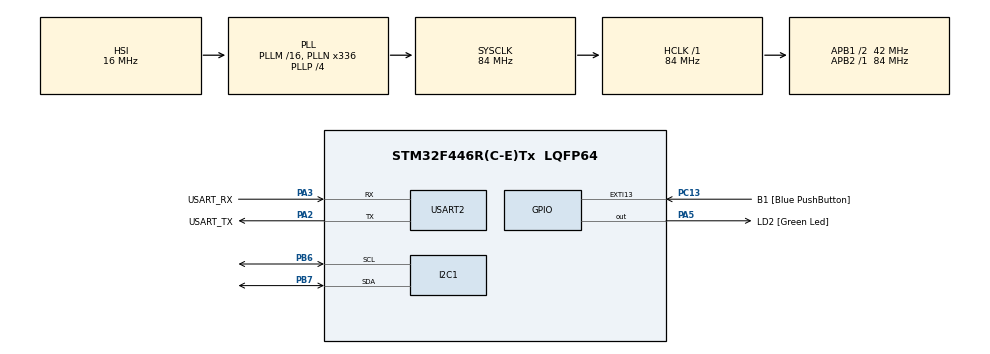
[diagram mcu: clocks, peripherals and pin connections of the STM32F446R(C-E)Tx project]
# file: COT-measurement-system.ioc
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I2C1.I2C_Mode=I2C_Standard
Mcu.Family=STM32F4
Mcu.Name=STM32F446R(C-E)Tx
Mcu.Package=LQFP64
NVIC.I2C1_ER_IRQn=true\:0\:0\:false\:false\:true\:true\:true\:true
NVIC.I2C1_EV_IRQn=true\:0\:0\:false\:false\:true\:true\:true\:true
NVIC.PriorityGroup=NVIC_PRIORITYGROUP_0
NVIC.TIM6_DAC_IRQn=true\:0\:0\:false\:false\:true\:true\:true\:true
PA13.GPIO_Label=TMS
PA13.Mode=Serial_Wire
PA13.Signal=SYS_JTMS-SWDIO
PA14.GPIO_Label=TCK
PA14.Mode=Serial_Wire
PA14.Signal=SYS_JTCK-SWCLK
PA2.GPIO_Label=USART_TX
PA2.Mode=Asynchronous
PA2.Signal=USART2_TX
PA3.GPIO_Label=USART_RX
PA3.Mode=Asynchronous
PA3.Signal=USART2_RX
PA5.GPIO_Label=LD2 [Green Led]
PA5.Signal=GPIO_Output
PB3.GPIO_Label=SWO
PB3.Signal=SYS_JTDO-SWO
PB6.GPIO_Pu=GPIO_PULLUP
PB6.Mode=I2C
PB6.Signal=I2C1_SCL
PB7.GPIO_Pu=GPIO_PULLUP
PB7.Mode=I2C
PB7.Signal=I2C1_SDA
PC13.GPIO_Label=B1 [Blue PushButton]
PC13.GPIO_ModeDefaultEXTI=GPIO_MODE_IT_FALLING
PC13.Signal=GPXTI13
PC14-OSC32_IN.Mode=LSE-External-Oscillator
PC14-OSC32_IN.Signal=RCC_OSC32_IN
PC15-OSC32_OUT.Mode=LSE-External-Oscillator
PC15-OSC32_OUT.Signal=RCC_OSC32_OUT
PH0-OSC_IN.Mode=HSE-External-Oscillator
PH0-OSC_IN.Signal=RCC_OSC_IN
PH1-OSC_OUT.Mode=HSE-External-Oscillator
PH1-OSC_OUT.Signal=RCC_OSC_OUT
ProjectManager.HeapSize=0x200
ProjectManager.StackSize=0x400
ProjectManager.TargetToolchain=STM32CubeIDE
RCC.48MHZClocksFreq_Value=84000000
RCC.AHBFreq_Value=84000000
RCC.APB1CLKDivider=RCC_HCLK_DIV2
RCC.APB1Freq_Value=42000000
RCC.APB1TimFreq_Value=84000000
RCC.APB2Freq_Value=84000000
RCC.APB2TimFreq_Value=84000000
RCC.CortexFreq_Value=84000000
RCC.FLatency-AdvancedSettings=FLASH_LATENCY_2
RCC.HCLKFreq_Value=84000000
RCC.HSE_VALUE=8000000
RCC.HSI_VALUE=16000000
RCC.PLLN=336
RCC.PLLP=RCC_PLLP_DIV4
RCC.SYSCLKFreq_VALUE=84000000
RCC.SYSCLKSource=RCC_SYSCLKSOURCE_PLLCLK
RCC.USBFreq_Value=168000000
RCC.VCOOutputFreq_Value=336000000
TIM6.AutoReloadPreload=TIM_AUTORELOAD_PRELOAD_DISABLE
TIM6.Period=9999
TIM6.Prescaler=83
TIM6.TIM_MasterOutputTrigger=TIM_TRGO_RESET
USART2.VirtualMode=VM_ASYNC
VP_TIM6_VS_ClockSourceINT.Mode=Enable_Timer
board=NUCLEO-F446RE

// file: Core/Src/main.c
/* USER CODE BEGIN Header */
/**
  ******************************************************************************
  * @file           : main.c
  * @brief          : Main program body
  ******************************************************************************
  * @attention
  *
  * Copyright (c) 2026 STMicroelectronics.
  * All rights reserved.
  *
  * This software is licensed under terms that can be found in the LICENSE file
  * in the root directory of this software component.
  * If no LICENSE file comes with this software, it is provided AS-IS.
  *
  ******************************************************************************
  */
/* USER CODE END Header */
#include "main.h"
#include "i2c.h"
#include "tim.h"
#include "usart.h"
#include "gpio.h"

/* USER CODE BEGIN Includes */
#include "max30100.h"
/* USER CODE END Includes */

/* USER CODE BEGIN PD */
#define SAMPLE_RATE_HZ 100
#define FINGER_PRESENT_LIMIT 15000
#define DELTA_PULSE 150
#define MIN_BEAT_INTEVAL 10

enum {
	SM_INIT_STATE = 0,
	SM_IDLE_STATE,
	SM_MONITOR_HART_STATE
};
/* USER CODE END PD */

/* USER CODE BEGIN PV */
max30100_data_t sensor_data;
volatile uint8_t button_pressed_event = 0;
volatile uint8_t sample_flag = 0;
volatile uint16_t last_ir;
static uint32_t last_sample_tick;
static uint8_t beat_lock;
volatile uint32_t dc_baseline;
/* USER CODE END PV */

void SystemClock_Config(void);

/* USER CODE BEGIN 0 */

HAL_StatusTypeDef State_Machine(void) {
	static uint8_t CurrentState = SM_INIT_STATE;
	HAL_StatusTypeDef ret = HAL_OK;
	uint32_t now;
	int16_t delta;

	now = HAL_GetTick();

	switch(CurrentState) {
		case SM_INIT_STATE:
			/*This state is responsible to configure the MAX30100 sensor*/
			MAX30100_Init();
			HAL_Delay(100);
			CurrentState = SM_IDLE_STATE;
			break;

		case SM_IDLE_STATE:

			HAL_GPIO_WritePin(GPIOA, LD2_Pin, GPIO_PIN_RESET);
			if(button_pressed_event) {
				button_pressed_event = 0;
				CurrentState = SM_MONITOR_HART_STATE;
			}
			break;

		case SM_MONITOR_HART_STATE:

			if(button_pressed_event) {
				button_pressed_event = 0;
				CurrentState = SM_IDLE_STATE;
				break;
			}

			if(now - last_sample_tick < MIN_BEAT_INTEVAL) {
				/*only get next sample after minimal interval*/
				break;
			}
			last_sample_tick = now;

			if (MAX30100_ReadFIFO(&sensor_data) != HAL_OK) {
				break;
		    }

			if(sensor_data.ir < FINGER_PRESENT_LIMIT) {
				break;
			}

			dc_baseline = (dc_baseline * 0.95) + (sensor_data.ir * 0.05);

			if (sensor_data.ir < (dc_baseline - DELTA_PULSE) && beat_lock == 0){
				beat_lock = 1;
				HAL_GPIO_WritePin(GPIOA, LD2_Pin, GPIO_PIN_SET);
			}

			if (sensor_data.ir > dc_baseline && beat_lock == 1){
				beat_lock = 0;
				HAL_GPIO_WritePin(GPIOA, LD2_Pin, GPIO_PIN_RESET);
			}
/*
			delta = sensor_data.ir - last_ir;

			if (delta > DELTA_PULSE && beat_lock == 0){
				beat_lock = 1;
				HAL_GPIO_WritePin(GPIOA, LD2_Pin, GPIO_PIN_SET);
			}

			if (delta < DELTA_PULSE && beat_lock == 1){
				beat_lock = 0;
				HAL_GPIO_WritePin(GPIOA, LD2_Pin, GPIO_PIN_RESET);
			}
*/
			last_ir = sensor_data.ir;

			break;
		default:
			//invalid state
			CurrentState = SM_INIT_STATE;
			break;
	}
	return ret;
}
/* USER CODE END 0 */

int main(void)
{

  /* MCU Configuration--------------------------------------------------------*/

  /* Reset of all peripherals, Initializes the Flash interface and the Systick. */
  HAL_Init();

  /* Configure the system clock */
  SystemClock_Config();

  /* Initialize all configured peripherals */
  MX_GPIO_Init();
  MX_I2C1_Init();
  MX_USART2_UART_Init();
  MX_TIM6_Init();
  /* USER CODE BEGIN 2 */
  HAL_TIM_Base_Start_IT(&htim6);

  /* USER CODE END 2 */

  /* Infinite loop */
  /* USER CODE BEGIN WHILE */
  while (1)
  {
	  State_Machine();
    /* USER CODE END WHILE */

  }
}

void SystemClock_Config(void)
{
  RCC_OscInitTypeDef RCC_OscInitStruct = {0};
  RCC_ClkInitTypeDef RCC_ClkInitStruct = {0};

  /** Configure the main internal regulator output voltage
  */
  __HAL_RCC_PWR_CLK_ENABLE();
  __HAL_PWR_VOLTAGESCALING_CONFIG(PWR_REGULATOR_VOLTAGE_SCALE3);

  /** Initializes the RCC Oscillators according to the specified parameters
  * in the RCC_OscInitTypeDef structure.
  */
  RCC_OscInitStruct.OscillatorType = RCC_OSCILLATORTYPE_HSI;
  RCC_OscInitStruct.HSIState = RCC_HSI_ON;
  RCC_OscInitStruct.HSICalibrationValue = RCC_HSICALIBRATION_DEFAULT;
  RCC_OscInitStruct.PLL.PLLState = RCC_PLL_ON;
  RCC_OscInitStruct.PLL.PLLSource = RCC_PLLSOURCE_HSI;
  RCC_OscInitStruct.PLL.PLLM = 16;
  RCC_OscInitStruct.PLL.PLLN = 336;
  RCC_OscInitStruct.PLL.PLLP = RCC_PLLP_DIV4;
  RCC_OscInitStruct.PLL.PLLQ = 2;
  RCC_OscInitStruct.PLL.PLLR = 2;
  if (HAL_RCC_OscConfig(&RCC_OscInitStruct) != HAL_OK)
  {
    Error_Handler();
  }

  /** Initializes the CPU, AHB and APB buses clocks
  */
  RCC_ClkInitStruct.ClockType = RCC_CLOCKTYPE_HCLK|RCC_CLOCKTYPE_SYSCLK
                              |RCC_CLOCKTYPE_PCLK1|RCC_CLOCKTYPE_PCLK2;
  RCC_ClkInitStruct.SYSCLKSource = RCC_SYSCLKSOURCE_PLLCLK;
  RCC_ClkInitStruct.AHBCLKDivider = RCC_SYSCLK_DIV1;
  RCC_ClkInitStruct.APB1CLKDivider = RCC_HCLK_DIV2;
  RCC_ClkInitStruct.APB2CLKDivider = RCC_HCLK_DIV1;

  if (HAL_RCC_ClockConfig(&RCC_ClkInitStruct, FLASH_LATENCY_2) != HAL_OK)
  {
    Error_Handler();
  }
}

/* USER CODE BEGIN 4 */
/* TIM6 utilizado para realizar o debounce do botão PC13, integrado na placa */
void HAL_TIM_PeriodElapsedCallback(TIM_HandleTypeDef *htim)
{
	static uint8_t button_counter = 0;
	static uint8_t button_state = 0;
	static uint8_t last_button_state = 0;

    if (htim->Instance == TIM6)
    {
        sample_flag = 1;

        if (HAL_GPIO_ReadPin(B1_GPIO_Port, B1_Pin) == GPIO_PIN_RESET)
        {
            if (button_counter < 5) {
                button_counter++;
            }
        }
        else
        {
            if (button_counter > 0) {
                button_counter--;
            }
        }

        if (button_counter >= 5) {
            button_state = 1;
        }
        else {
            button_state = 0;
        }

        if (button_state && !last_button_state) {
            button_pressed_event = 1;
        }

        last_button_state = button_state;
    }
}
/* USER CODE END 4 */

void Error_Handler(void)
{
  __disable_irq();
  while (1)
  {
  }
}
